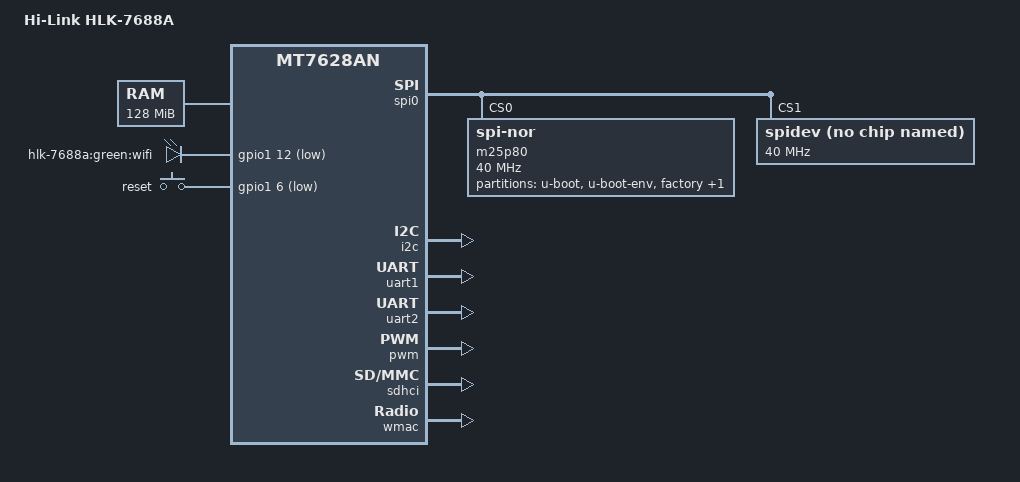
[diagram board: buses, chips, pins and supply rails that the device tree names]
/dts-v1/;

#include "mt7628an.dtsi"

#include <dt-bindings/gpio/gpio.h>
#include <dt-bindings/input/input.h>

/ {
	compatible = "hilink,hlk-7688a", "mediatek,mt7628an-soc";
	model = "Hi-Link HLK-7688A";

	memory@0 {
		device_type = "memory";
		reg = <0x0 0x8000000>;
	};

	bootstrap {
		compatible = "hilink,hlk-7688a";

		status = "okay";
	};

	gpio-leds {
		compatible = "gpio-leds";

		wifi {
			label = "hlk-7688a:green:wifi";
			gpios = <&gpio1 12 GPIO_ACTIVE_LOW>;
		};
	};

	gpio-keys-polled {
		compatible = "gpio-keys-polled";
		#address-cells = <1>;
		#size-cells = <0>;
		poll-interval = <20>;

		wps {
			label = "reset";
			gpios = <&gpio1 6 GPIO_ACTIVE_LOW>;
			linux,code = <KEY_WPS_BUTTON>;
		};
	};
};

&pinctrl {
	state_default: pinctrl0 {
		gpio {
			ralink,group = "gpio";
			ralink,function = "gpio";
		};

		refclk {
			ralink,group = "refclk";
			ralink,function = "gpio";
		};

		i2s {
			ralink,group = "i2s";
			ralink,function = "gpio";
		};

		spis {
			ralink,group = "spis";
			ralink,function = "gpio";
		};

		wled_an {
			ralink,group = "wled_an";
			ralink,function = "gpio";
		};

		wdt {
			ralink,group = "wdt";
			ralink,function = "gpio";
		};
	};
};

&spi0 {
	status = "okay";

	pinctrl-names = "default";
	pinctrl-0 = <&spi_pins>, <&spi_cs1_pins>;

	m25p80@0 {
		#address-cells = <1>;
		#size-cells = <1>;
		compatible = "jedec,spi-nor";
		reg = <0>;
		spi-max-frequency = <40000000>;
		m25p,chunked-io = <31>;

		partition@0 {
			label = "u-boot";
			reg = <0x0 0x30000>;
			read-only;
		};

		partition@30000 {
			label = "u-boot-env";
			reg = <0x30000 0x10000>;
		};

		factory: partition@40000 {
			label = "factory";
			reg = <0x40000 0x10000>;
			read-only;
		};

		partition@50000 {
			label = "firmware";
			reg = <0x50000 0x1fb0000>;
		};
	};

	spidev@1 {
		#address-cells = <1>;
		#size-cells = <1>;
		compatible = "linux,spidev";
		reg = <1>;
		spi-max-frequency = <40000000>;
	};
};

&i2c {
	status = "okay";
};

&uart1 {
	status = "okay";
};

&uart2 {
	status = "okay";
};

&pwm {
	status = "okay";
};

&ethernet {
	mtd-mac-address = <&factory 0x28>;
};

&sdhci {
	status = "okay";
	mediatek,cd-high;
};

&wmac {
	status = "okay";
};
